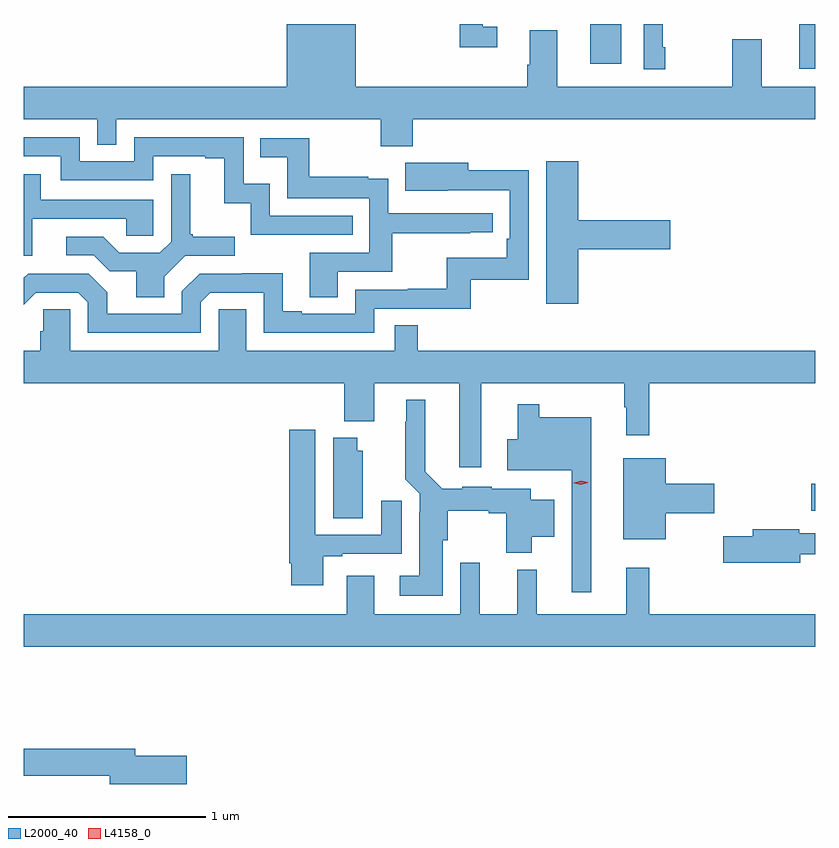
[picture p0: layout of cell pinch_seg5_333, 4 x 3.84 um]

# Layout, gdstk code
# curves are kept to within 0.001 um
import gdstk
lib = gdstk.Library(unit=1e-6, precision=1e-09)
def R(c, l, rs):  # rectangles x0, y0, x1, y1
    for r in rs: c.add(gdstk.rectangle(r[:2], r[2:], *l))
def P(c, l, *ps):  # polygons
    for p in ps: c.add(gdstk.Polygon(p, *l))
L2000_40 = (2000, 40)
L4158_0 = (4158, 0)

pinch_seg5_333 = lib.new_cell('pinch_seg5_333')
R(pinch_seg5_333, L2000_40, [(907.704,881.423,907.725,881.558), (906.587,883.68,906.745,883.882)])
P(pinch_seg5_333, L2000_40, [(907.725,883.564),(907.453,883.564),(907.453,883.804),(907.306,883.804),(907.306,883.564),(906.421,883.564),(906.421,883.85),(906.281,883.85),(906.281,883.676),(906.269,883.676),(906.269,883.564),(905.404,883.564),(905.404,883.882),(905.054,883.882),(905.054,883.564),(903.725,883.564),(903.725,883.4),(904.098,883.4),(904.098,883.273),(904.194,883.273),(904.194,883.4),(905.53,883.4),(905.53,883.265),(905.69,883.265),(905.69,883.4),(907.725,883.4)],
  [(906.967,883.765),(906.954,883.765),(906.954,883.882),(906.858,883.882),(906.858,883.653),(906.967,883.653)],
  [(907.725,883.882),(907.644,883.882),(907.644,883.869),(907.643,883.869),(907.643,883.656),(907.725,883.656)],
  [(906.118,883.869),(906.045,883.869),(906.045,883.882),(905.929,883.882),(905.929,883.764),(906.118,883.764)],
  [(905.387,882.912),(904.968,882.912),(904.968,883.075),(904.836,883.075),(904.836,883.311),(904.284,883.311),(904.284,883.188),(904.008,883.188),(904.008,883.311),(903.725,883.311),(903.725,883.215),(903.912,883.215),(903.912,883.092),(904.38,883.092),(904.38,883.215),(904.643,883.215),(904.643,883.203),(904.739,883.203),(904.739,882.977),(904.872,882.977),(904.872,882.816),(905.387,882.816)],
  [(905.311,882.63),(905.588,882.63),(905.588,882.826),(905.981,882.826),(905.981,882.831),(906.094,882.831),(906.094,882.927),(905.568,882.927),(905.568,883.099),(905.465,883.099),(905.465,883.111),(905.167,883.111),(905.167,883.305),(904.921,883.305),(904.921,883.208),(905.056,883.208),(905.056,883.002),(905.472,883.002),(905.472,882.726),(905.171,882.726),(905.171,882.502),(905.311,882.502)],
  [(906.526,882.743),(906.991,882.743),(906.991,882.89),(906.526,882.89),(906.526,883.189),(906.365,883.189),(906.365,882.468),(906.526,882.468)],
  [(904.62,882.477),(904.668,882.525),(904.938,882.525),(904.938,882.321),(905.496,882.321),(905.496,882.444),(905.983,882.444),(905.983,882.591),(906.276,882.591),(906.276,883.142),(905.971,883.142),(905.971,883.18),(905.653,883.18),(905.653,883.04),(906.18,883.041),(906.18,882.796),(906.167,882.796),(906.167,882.7),(905.862,882.7),(905.862,882.545),(905.665,882.545),(905.665,882.54),(905.4,882.54),(905.4,882.417),(905.131,882.417),(905.131,882.43),(905.035,882.43),(905.035,882.623),(904.83,882.623),(904.83,882.621),(904.614,882.621),(904.524,882.531),(904.524,882.417),(904.147,882.417),(904.147,882.527),(904.053,882.621),(903.747,882.621),(903.725,882.599),(903.725,882.464),(903.786,882.525),(904.002,882.525),(904.05,882.477),(904.05,882.321),(904.62,882.321)],
  [(904.435,882.604),(904.542,882.711),(904.792,882.711),(904.792,882.808),(904.579,882.808),(904.579,882.82),(904.567,882.82),(904.567,883.123),(904.47,883.123),(904.47,882.783),(904.413,882.726),(904.207,882.726),(904.126,882.807),(903.939,882.807),(903.939,882.714),(904.08,882.714),(904.16,882.634),(904.295,882.634),(904.295,882.502),(904.435,882.502)],
  [(903.769,882.897),(904.243,882.897),(904.243,882.813),(904.38,882.813),(904.38,882.993),(903.811,882.993),(903.811,883.123),(903.725,883.123),(903.725,882.711),(903.769,882.711)],
  [(906.037,882.068),(906.759,882.068),(906.759,881.945),(906.77,881.945),(906.77,881.805),(906.887,881.805),(906.887,882.068),(907.725,882.068),(907.725,882.232),(905.717,882.232),(905.717,882.359),(905.601,882.359),(905.601,882.232),(904.849,882.232),(904.849,882.44),(904.71,882.44),(904.71,882.232),(903.96,882.232),(903.96,882.44),(903.823,882.44),(903.823,882.33),(903.809,882.33),(903.809,882.232),(903.725,882.232),(903.725,882.068),(905.345,882.068),(905.345,881.876),(905.497,881.876),(905.497,882.068),(905.927,882.068),(905.927,881.643),(906.037,881.643)],
  [(905.842,881.274),(905.868,881.274),(905.868,881.423),(906.074,881.423),(906.074,881.411),(906.163,881.411),(906.163,881.21),(906.292,881.21),(906.292,881.291),(906.406,881.291),(906.406,881.479),(906.286,881.479),(906.286,881.533),(906.09,881.533),(906.09,881.545),(905.94,881.545),(905.94,881.533),(905.841,881.533),(905.755,881.62),(905.755,881.983),(905.657,881.983),(905.657,881.873),(905.653,881.873),(905.653,881.582),(905.727,881.508),(905.727,881.414),(905.723,881.414),(905.723,881.095),(905.625,881.095),(905.625,880.994),(905.842,880.994)],
  [(906.592,881.896),(906.331,881.896),(906.331,881.962),(906.221,881.962),(906.221,881.785),(906.168,881.785),(906.168,881.627),(906.495,881.627),(906.495,881.01),(906.592,881.01)],
  [(905.239,881.193),(905.335,881.193),(905.335,881.205),(905.635,881.205),(905.635,881.473),(905.531,881.473),(905.531,881.301),(905.197,881.301),(905.197,881.833),(905.066,881.833),(905.066,881.158),(905.078,881.158),(905.078,881.046),(905.239,881.046)],
  [(905.437,881.727),(905.41,881.727),(905.41,881.791),(905.288,881.791),(905.288,881.386),(905.437,881.386)],
  [(906.97,881.411),(907.213,881.411),(907.213,881.558),(906.97,881.558),(906.97,881.689),(906.755,881.689),(906.755,881.279),(906.97,881.279)],
  [(907.648,881.202),(907.725,881.202),(907.725,881.31),(907.644,881.31),(907.644,881.33),(907.409,881.33),(907.409,881.294),(907.26,881.294),(907.26,881.159),(907.648,881.159)],
  [(907.725,880.9),(906.887,880.9),(906.887,881.134),(906.77,881.134),(906.77,880.9),(906.317,880.9),(906.317,881.125),(906.218,881.125),(906.218,880.9),(906.029,880.9),(906.029,881.161),(905.931,881.161),(905.931,880.9),(905.497,880.9),(905.497,881.095),(905.357,881.095),(905.357,880.9),(903.725,880.9),(903.725,880.736),(907.725,880.736)],
  [(904.549,880.184),(904.288,880.184),(904.288,880.22),(903.725,880.22),(903.725,880.084),(904.16,880.084),(904.16,880.042),(904.549,880.042)])
P(pinch_seg5_333, L4158_0, [(906.541,881.554),(906.506,881.562),(906.505,881.563),(906.506,881.563),(906.54,881.574),(906.576,881.566),(906.576,881.565),(906.576,881.565)])

lib.write_gds('pinch_seg5_333.gds')
